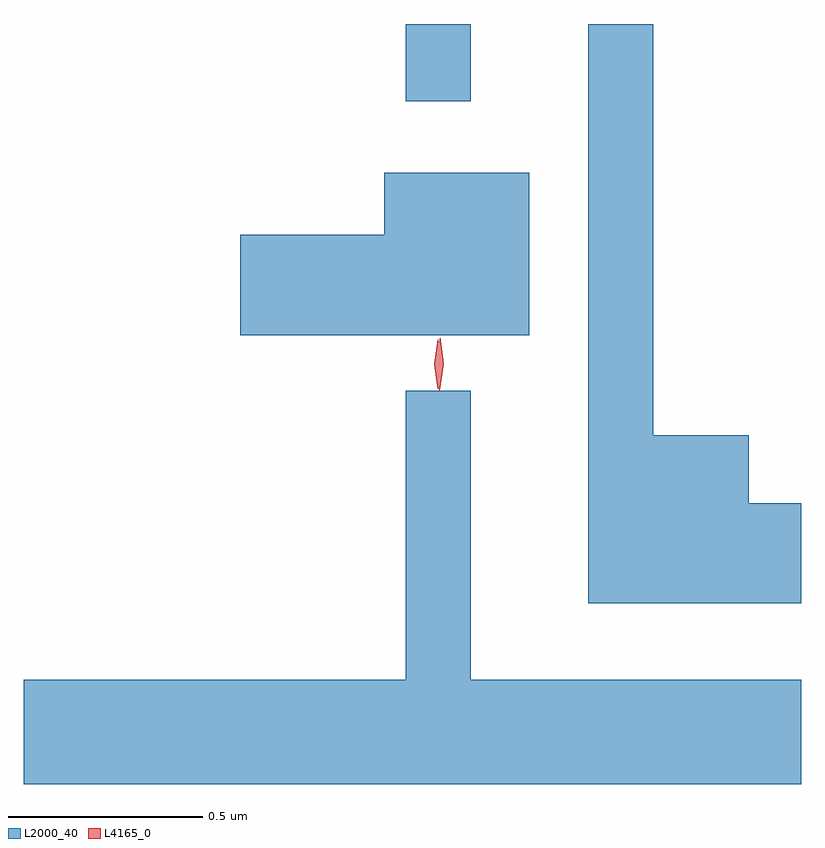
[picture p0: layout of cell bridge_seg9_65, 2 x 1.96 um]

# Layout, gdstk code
import gdstk
lib = gdstk.Library(unit=1e-6, precision=1e-09)
def R(c, l, rs):  # rectangles x0, y0, x1, y1
    for r in rs: c.add(gdstk.rectangle(r[:2], r[2:], *l))
def P(c, l, *ps):  # polygons
    for p in ps: c.add(gdstk.Polygon(p, *l))
L2000_40 = (2000, 40)
L4165_0 = (4165, 0)

bridge_seg9_65 = lib.new_cell('bridge_seg9_65')
R(bridge_seg9_65, L2000_40, [(1657.981,1946.953,1658.149,1947.152)])
P(bridge_seg9_65, L2000_40, [(1658.999,1945.919),(1658.864,1945.919),(1658.864,1946.094),(1658.619,1946.094),(1658.619,1947.152),(1658.451,1947.152),(1658.451,1945.661),(1658.999,1945.661)],
  [(1658.299,1946.769),(1657.926,1946.769),(1657.926,1946.609),(1657.556,1946.609),(1657.556,1946.351),(1658.299,1946.351)],
  [(1658.999,1945.464),(1658.149,1945.464),(1658.149,1946.208),(1657.981,1946.208),(1657.981,1945.464),(1656.999,1945.464),(1656.999,1945.196),(1658.999,1945.196)])
P(bridge_seg9_65, L4165_0, [(1658.068,1946.21),(1658.059,1946.278),(1658.07,1946.346),(1658.07,1946.346),(1658.071,1946.346),(1658.079,1946.278),(1658.069,1946.21),(1658.069,1946.21)],
  [(1658.064,1946.213),(1658.055,1946.276),(1658.064,1946.339),(1658.065,1946.34),(1658.065,1946.339),(1658.075,1946.276),(1658.065,1946.213),(1658.065,1946.213)])

lib.write_gds('bridge_seg9_65.gds')
